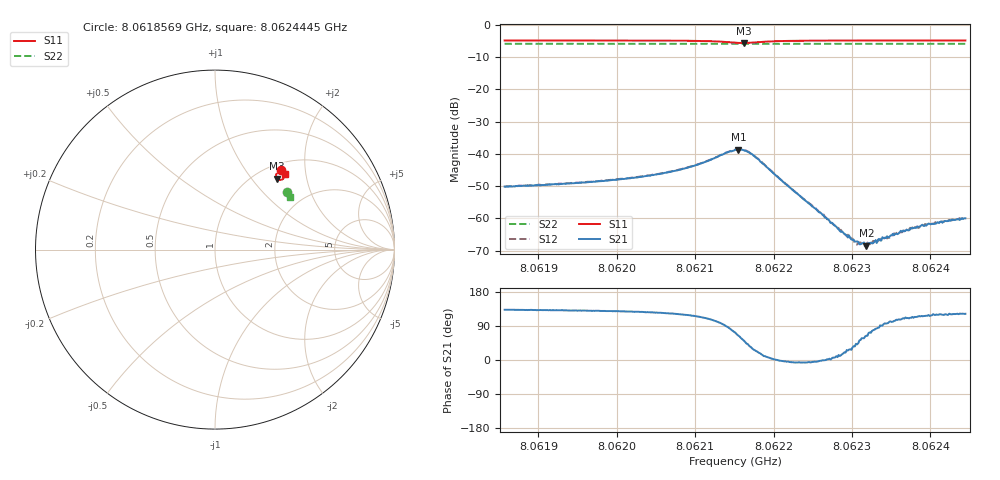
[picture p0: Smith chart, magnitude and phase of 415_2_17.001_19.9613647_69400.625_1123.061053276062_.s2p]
#  HZ  S  RI  R  50.00
! Rohde & Schwarz Vector Network Analyzer
! Rohde-Schwarz,ZNB20-2Port,1311601062101988,3.16
! Created: UTC 3/20/2024, 11:10:43 PM
! freq[Hz]  re:S11  im:S11  re:S21  im:S21  re:S12  im:S12  re:S22  im:S22
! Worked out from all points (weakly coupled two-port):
!   401 points, 8.0618569 GHz to 8.0624445 GHz, reference 50 ohm
!   highest |S21| = -38.63 dB at 8.0621551 GHz (marker M1); lowest = -68.5 dB at 8.0623182 GHz (marker M2)
!   lowest |S11| = -5.6 dB at 8.0621625 GHz (marker M3), VSWR 3.22, Z = 62 + j67.8 ohm
!   |S11| at or under -10 dB: nowhere
!   |S22| runs from -5.9 to -5.8 dB; largest |S21 - S12| = 0.0008
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8.0618569e9  0.368 0.4433  -0.00211 0.00229  -0.00194 0.00241  0.3994 0.3201
8.06195532e9  0.3749 0.437  -0.00233 0.00275  -0.00219 0.00286  0.4032 0.3152
8.06200233e9  0.3785 0.4332  -0.00251 0.00312  -0.00237 0.00331  0.405 0.3128
8.06205375e9  0.383 0.4272  -0.00275 0.00401  -0.00256 0.0042  0.4069 0.3099
8.06210076e9  0.3873 0.4161  -0.00289 0.00602  -0.00258 0.00625  0.4086 0.3074
8.06215071e9  0.3643 0.3882  0.00343 0.0111  0.00417 0.0108  0.4088 0.304
8.06215512e9  0.3572 0.3891  0.00506 0.0106  0.00571 0.0103  0.4086 0.304
8.06216246e9  0.3463 0.3957  0.00722 0.0087  0.00793 0.00833  0.4084 0.3041
8.06217862e9  0.3414 0.4193  0.00792 0.00331  0.0082 0.00273  0.4091 0.3044
8.06221388e9  0.3613 0.4355  0.00352 -0.000223  0.00357 -0.00044  0.4115 0.3034
8.06224913e9  0.3721 0.4345  0.00152 -0.000136  0.00157 -0.000254  0.413 0.3012
8.06228439e9  0.3781 0.4321  0.000626 0.000118  0.000646 9.96e-05  0.4145 0.2993
8.06229027e9  0.379 0.4317  0.000535 0.000199  0.000561 0.000121  0.4146 0.299
8.06229761e9  0.3799 0.4312  0.000438 0.000234  0.000468 0.000217  0.415 0.2986
8.06230349e9  0.3806 0.4307  0.000357 0.000256  0.000338 0.000234  0.4153 0.2982
8.06231083e9  0.3815 0.4304  0.00024 0.000315  0.000285 0.000313  0.4155 0.298
8.06231818e9  0.3823 0.4298  0.000165 0.000339  0.000201 0.000318  0.4156 0.2977
8.06232846e9  0.3833 0.4291  7.79e-05 0.000426  0.000108 0.000423  0.4162 0.2971
8.06234756e9  0.3851 0.4279  -9.89e-05 0.000508  -6.1e-05 0.000495  0.4169 0.296
8.06235491e9  0.3857 0.4274  -0.000133 0.00055  -9.33e-05 0.000564  0.417 0.2956
8.06239016e9  0.3885 0.4252  -0.000336 0.000706  -0.0003 0.000735  0.4184 0.2938
8.06244452e9  0.3924 0.4219  -0.000529 0.000851  -0.000497 0.00089  0.4201 0.2909
